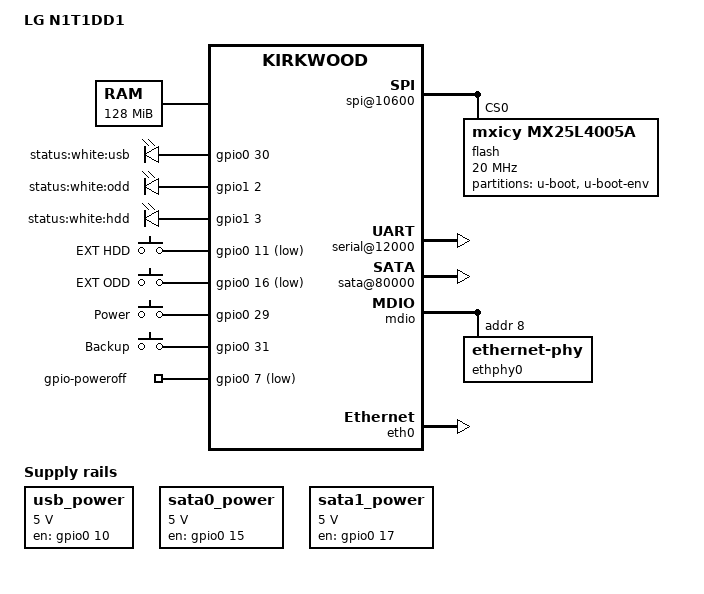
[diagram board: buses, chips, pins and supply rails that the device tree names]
// SPDX-License-Identifier: GPL-2.0
/dts-v1/;

#include "kirkwood.dtsi"
#include "kirkwood-6281.dtsi"

/ {
	model = "LG N1T1DD1";
	compatible = "lg,n1t1dd1", "marvell,kirkwood-88f6281", "marvell,kirkwood";

	memory {
		device_type = "memory";
		reg = <0x00000000 0x8000000>;
	};

	chosen {
		bootargs = "console=ttyS0,115200n8 earlyprintk root=/dev/sda1 rootdelay=10";
		stdout-path = &uart0;
	};

	ocp@f1000000 {
		pinctrl: pin-controller@10000 {
			pmx_uart0: pmx-uart0 {
				marvell,pins = "mpp4", "mpp5";
				marvell,function = "uart0";
			};

			pmx_power_off: pmx-power-off {
				marvell,pins = "mpp7";
				marvell,function = "gpo";
			};

			pmx_power_usb: pmx-power-usb {
				marvell,pins = "mpp10";
				marvell,function = "gpio";
			};

			pmx_button_ext_hdd: pmx-button-ext-hdd {
				marvell,pins = "mpp11";
				marvell,function = "gpio";
			};

			pmx_power_sata0: pmx-power-sata0 {
				marvell,pins = "mpp15";
				marvell,function = "gpio";
			};

			pmx_button_ext_odd: pmx-button-ext-odd {
				marvell,pins = "mpp16";
				marvell,function = "gpio";
			};

			pmx_power_sata1: pmx-power-sata1 {
				marvell,pins = "mpp17";
				marvell,function = "gpio";
			};

			pmx_power_usb_sense: pmx-power-usb-sense {
				marvell,pins = "mpp26";
				marvell,function = "gpio";
			};

			pmx_button_power: pmx-button-power {
				marvell,pins = "mpp29";
				marvell,function = "gpio";
			};

			pmx_led_usb: pmx-led-usb {
				marvell,pins = "mpp30";
				marvell,function = "gpio";
			};

			pmx_button_backup: pmx-button-backup {
				marvell,pins = "mpp31";
				marvell,function = "gpio";
			};

			pmx_led_odd: pmx-led-odd {
				marvell,pins = "mpp34";
				marvell,function = "gpio";
			};

			pmx_led_hdd: pmx-led-hdd {
				marvell,pins = "mpp35";
				marvell,function = "gpio";
			};
		};

		spi@10600 {
			status = "okay";

			flash@0 {
				#address-cells = <1>;
				#size-cells = <1>;
				compatible = "mxicy,mx25l4005a", "jedec,spi-nor";
				reg = <0>;
				spi-max-frequency = <20000000>;
				mode = <0>;

				partition@0 {
					reg = <0x0 0x78000>;
					label = "u-boot";
				};

				partition@78000 {
					reg = <0x78000 0x1000>;
					label = "u-boot-env";
				};
			};
		};

		serial@12000 {
			status = "ok";
		};

		sata@80000 {
			status = "okay";
			nr-ports = <2>;
		};
	};

	gpio-leds {
		compatible = "gpio-leds";
		pinctrl-0 = <&pmx_led_usb &pmx_led_odd &pmx_led_hdd>;
		pinctrl-names = "default";

		usb {
			label = "status:white:usb";
			gpios = <&gpio0 30 GPIO_ACTIVE_HIGH>;
		};

		odd {
			label = "status:white:odd";
			gpios = <&gpio1 2 GPIO_ACTIVE_HIGH>;
			linux,default-trigger = "ide-disk1";
		};

		hdd {
			label = "status:white:hdd";
			gpios = <&gpio1 3 GPIO_ACTIVE_HIGH>;
			linux,default-trigger = "ide-disk2";
		};
	};

	gpio-keys {
		compatible = "gpio-keys";
		#address-cells = <1>;
		#size-cells = <0>;
		pinctrl-0 = <&pmx_button_ext_hdd &pmx_button_ext_odd &pmx_button_power &pmx_button_backup>;
		pinctrl-names = "default";

		button@1 {
			label = "EXT HDD";
			linux,code = <KEY_FN_1>;
			linux,input-type = <5>;
			debounce-interval = <1000>;
			gpios = <&gpio0 11 GPIO_ACTIVE_LOW>;
		};

		button@2 {
			label = "EXT ODD";
			linux,code = <KEY_FN_2>;
			linux,input-type = <5>;
			debounce-interval = <1000>;
			gpios = <&gpio0 16 GPIO_ACTIVE_LOW>;
		};

		button@3 {
			label = "Power";
			linux,code = <KEY_POWER>;
			gpios = <&gpio0 29 GPIO_ACTIVE_HIGH>;
		};

		button@4 {
			label = "Backup";
			linux,code = <KEY_COPY>;
			gpios = <&gpio0 31 GPIO_ACTIVE_HIGH>;
		};
	};

	gpio-poweroff {
		compatible = "gpio-poweroff";
		pinctrl-0 = <&pmx_power_off>;
		pinctrl-names = "default";
		gpios = <&gpio0 7 GPIO_ACTIVE_LOW>;
	};

	regulators {
		compatible = "simple-bus";
		#address-cells = <1>;
		#size-cells = <0>;
		pinctrl-0 = <&pmx_power_usb &pmx_power_sata0 &pmx_power_sata1>;
		pinctrl-names = "default";

		usb_power: regulator@1 {
			compatible = "regulator-fixed";
			reg = <1>;
			regulator-name = "USB Power";
			regulator-min-microvolt = <5000000>;
			regulator-max-microvolt = <5000000>;
			enable-active-high;
			regulator-always-on;
			regulator-boot-on;
			gpio = <&gpio0 10 GPIO_ACTIVE_HIGH>;
		};

		sata0_power: regulator@2 {
			compatible = "regulator-fixed";
			reg = <2>;
			regulator-name = "SATA0 Power";
			regulator-min-microvolt = <5000000>;
			regulator-max-microvolt = <5000000>;
			enable-active-high;
			regulator-always-on;
			regulator-boot-on;
			gpio = <&gpio0 15 GPIO_ACTIVE_HIGH>;
		};

		sata1_power: regulator@3 {
			compatible = "regulator-fixed";
			reg = <3>;
			regulator-name = "SATA1 Power";
			regulator-min-microvolt = <5000000>;
			regulator-max-microvolt = <5000000>;
			enable-active-high;
			regulator-always-on;
			regulator-boot-on;
			gpio = <&gpio0 17 GPIO_ACTIVE_HIGH>;
		};
	};
};

&mdio {
	status = "okay";

	ethphy0: ethernet-phy@8 {
		reg = <8>;
	};
};

&eth0 {
	status = "okay";

	ethernet0-port@0 {
		phy-handle = <&ethphy0>;
	};
};
